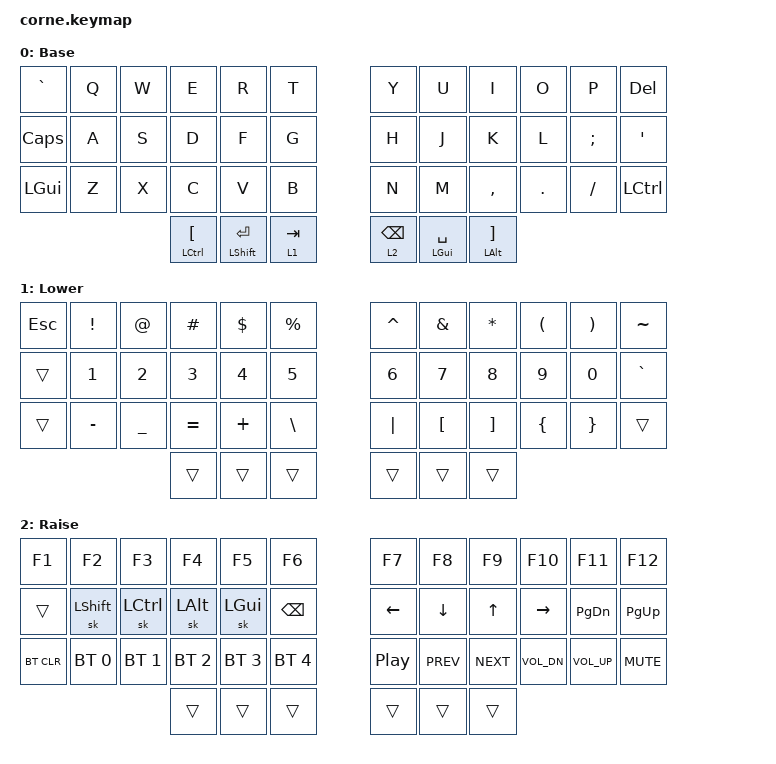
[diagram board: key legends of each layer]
/*
 * Copyright (c) 2020 The ZMK Contributors
 *
 * SPDX-License-Identifier: MIT
 */

#include <behaviors.dtsi>
#include <dt-bindings/zmk/bt.h>
#include <dt-bindings/zmk/keys.h>

&lt {
    tapping-term-ms = <200>;
    quick-tap-ms = <200>;
    flavor = "balanced";
};

&mt {
    tapping-term-ms = <200>;
    quick-tap-ms = <200>;
    flavor = "balanced";
};

&sk {
    release-after-ms = <2000>;
    quick-release;
};

/ {
    keymap {
        compatible = "zmk,keymap";

        default_layer {
            // -----------------------------------------------------------------------------------------
            // |  TAB |  Q  |  W  |  E  |  R  |  T  |   |  Y  |  U   |  I  |  O  |  P  | BKSP |
            // | CTRL |  A  |  S  |  D  |  F  |  G  |   |  H  |  J   |  K  |  L  |  ;  |  '   |
            // | SHFT |  Z  |  X  |  C  |  V  |  B  |   |  N  |  M   |  ,  |  .  |  /  | ESC  |
            //                    | GUI | LWR | SPC |   | ENT | RSE  | ALT |

            display-name = "Base";
            bindings = <
&kp GRAVE     &kp Q  &kp W  &kp E                   &kp R                 &kp T        &kp Y            &kp U               &kp I                       &kp O    &kp P     &kp DEL
&kp CAPS      &kp A  &kp S  &kp D                   &kp F                 &kp G        &kp H            &kp J               &kp K                       &kp L    &kp SEMI  &kp SQT
&kp LEFT_GUI  &kp Z  &kp X  &kp C                   &kp V                 &kp B        &kp N            &kp M               &kp COMMA                   &kp DOT  &kp FSLH  &kp LCTRL
                            &mt LCTRL LEFT_BRACKET  &mt LEFT_SHIFT ENTER  &lt 1 TAB    &lt 2 BACKSPACE  &mt LEFT_GUI SPACE  &mt LEFT_ALT RIGHT_BRACKET
            >;
        };

        lower_layer {
            // -----------------------------------------------------------------------------------------
            // |  TAB |  1  |  2  |  3  |  4  |  5  |   |  6  |  7  |  8  |  9  |  0  | BKSP |
            // | BTCLR| BT1 | BT2 | BT3 | BT4 | BT5 |   | LFT | DWN |  UP | RGT |     |      |
            // | SHFT |     |     |     |     |     |   |     |     |     |     |     |      |
            //                    | GUI |     | SPC |   | ENT |     | ALT |

            display-name = "Lower";
            bindings = <
&kp ESC  &kp EXCLAMATION  &kp AT_SIGN   &kp POUND     &kp DOLLAR    &kp PERCENT      &kp CARET     &kp AMPERSAND     &kp ASTERISK       &kp LEFT_PARENTHESIS  &kp RIGHT_PARENTHESIS  &kp TILDE
&trans   &kp NUMBER_1     &kp NUMBER_2  &kp NUMBER_3  &kp NUMBER_4  &kp NUMBER_5     &kp NUMBER_6  &kp NUMBER_7      &kp NUMBER_8       &kp NUMBER_9          &kp NUMBER_0           &kp GRAVE
&trans   &kp MINUS        &kp UNDER     &kp EQUAL     &kp PLUS      &kp BACKSLASH    &kp PIPE      &kp LEFT_BRACKET  &kp RIGHT_BRACKET  &kp LEFT_BRACE        &kp RIGHT_BRACE        &trans
                                        &trans        &trans        &trans           &trans        &trans            &trans
            >;
        };

        raise_layer {
            // -----------------------------------------------------------------------------------------
            // |  TAB |  !  |  @  |  #  |  $  |  %  |   |  ^  |  &  |  *  |  (  |  )  | BKSP |
            // | CTRL |     |     |     |     |     |   |  -  |  =  |  [  |  ]  |  \  |  `   |
            // | SHFT |     |     |     |     |     |   |  _  |  +  |  {  |  }  | "|" |  ~   |
            //                    | GUI |     | SPC |   | ENT |     | ALT |

            display-name = "Raise";
            bindings = <
&kp F1      &kp F2          &kp F3        &kp F4        &kp F5        &kp F6           &kp F7            &kp F8          &kp F9        &kp F10       &kp F11          &kp F12
&trans      &sk LEFT_SHIFT  &sk LCTRL     &sk LEFT_ALT  &sk LEFT_GUI  &kp BACKSPACE    &kp LEFT          &kp DOWN_ARROW  &kp UP_ARROW  &kp RIGHT     &kp PAGE_DOWN    &kp PAGE_UP
&bt BT_CLR  &bt BT_SEL 0    &bt BT_SEL 1  &bt BT_SEL 2  &bt BT_SEL 3  &bt BT_SEL 4     &kp C_PLAY_PAUSE  &kp C_PREV      &kp C_NEXT    &kp C_VOL_DN  &kp C_VOLUME_UP  &kp C_MUTE
                                          &trans        &trans        &trans           &trans            &trans          &trans
            >;
        };
    };
};
